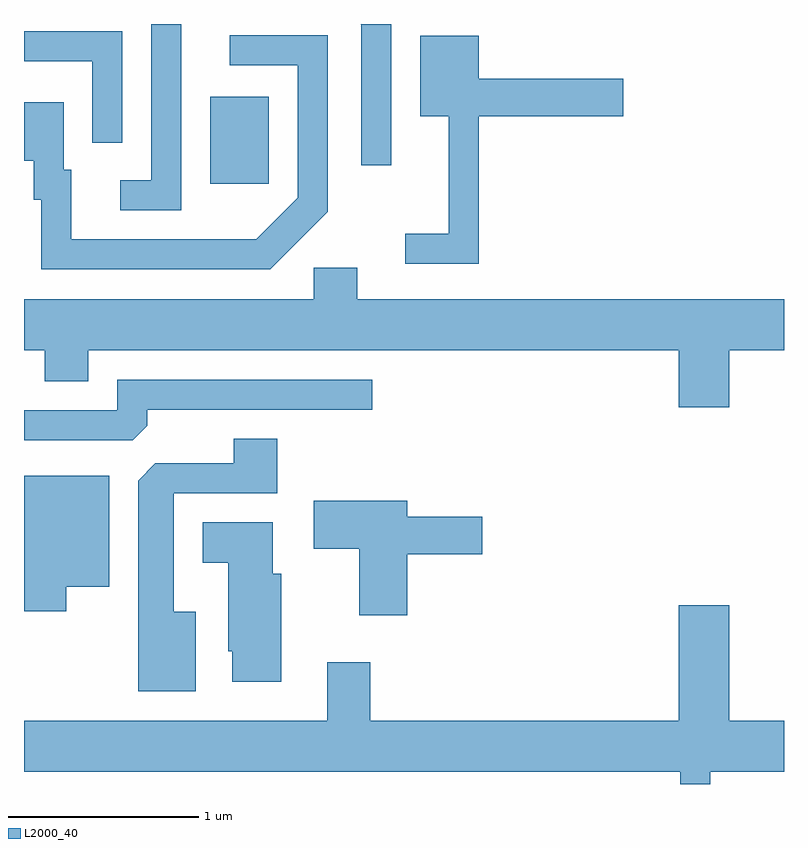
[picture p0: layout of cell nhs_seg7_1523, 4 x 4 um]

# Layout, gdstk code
import gdstk
lib = gdstk.Library(unit=1e-6, precision=1e-09)
def R(c, l, rs):  # rectangles x0, y0, x1, y1
    for r in rs: c.add(gdstk.rectangle(r[:2], r[2:], *l))
def P(c, l, *ps):  # polygons
    for p in ps: c.add(gdstk.Polygon(p, *l))
L2000_40 = (2000, 40)

nhs_seg7_1523 = lib.new_cell('nhs_seg7_1523')
R(nhs_seg7_1523, L2000_40, [(232.591,1717.411,232.899,1717.869)])
P(nhs_seg7_1523, L2000_40, [(232.439,1718.252),(232.281,1718.252),(232.281,1717.429),(232.118,1717.429),(232.118,1717.271),(232.439,1717.271)],
  [(233.544,1718.252),(233.383,1718.252),(233.386,1718.249),(233.386,1717.508),(233.544,1717.508)],
  [(232.129,1718.214),(231.611,1718.214),(231.611,1718.056),(231.971,1718.056),(231.971,1717.628),(232.129,1717.628)],
  [(233.209,1717.264),(233.209,1718.194),(232.693,1718.194),(232.693,1718.036),(233.051,1718.036),(233.051,1717.337),(232.834,1717.119),(231.859,1717.119),(231.859,1717.484),(231.819,1717.484),(231.819,1717.839),(231.611,1717.839),(231.611,1717.531),(231.661,1717.531),(231.661,1717.326),(231.701,1717.326),(231.701,1716.961),(232.907,1716.961)],
  [(234.004,1717.766),(234.764,1717.766),(234.764,1717.964),(234.004,1717.964),(234.004,1718.189),(233.696,1718.189),(233.696,1717.766),(233.846,1717.766),(233.846,1717.149),(233.618,1717.149),(233.618,1716.991),(234.004,1716.991)],
  [(235.324,1716.536),(235.611,1716.536),(235.611,1716.804),(233.364,1716.804),(233.364,1716.969),(233.136,1716.969),(233.136,1716.804),(231.611,1716.804),(231.611,1716.536),(231.721,1716.536),(231.721,1716.371),(231.949,1716.371),(231.949,1716.536),(235.056,1716.536),(235.056,1716.236),(235.324,1716.236)],
  [(232.259,1716.137),(232.259,1716.221),(233.443,1716.221),(233.443,1716.379),(232.101,1716.379),(232.101,1716.219),(231.611,1716.219),(231.611,1716.061),(232.184,1716.061)],
  [(232.514,1715.159),(232.399,1715.159),(232.399,1715.781),(232.944,1715.781),(232.944,1716.069),(232.716,1716.069),(232.716,1715.939),(232.302,1715.939),(232.211,1715.849),(232.211,1714.741),(232.514,1714.741)],
  [(231.834,1715.291),(232.059,1715.291),(232.059,1715.874),(231.611,1715.874),(231.611,1715.161),(231.834,1715.161)],
  [(233.629,1715.461),(234.024,1715.461),(234.024,1715.659),(233.629,1715.659),(233.629,1715.744),(233.136,1715.744),(233.136,1715.491),(233.376,1715.491),(233.376,1715.141),(233.629,1715.141)],
  [(232.964,1715.359),(232.919,1715.359),(232.919,1715.629),(232.551,1715.629),(232.551,1715.416),(232.686,1715.416),(232.686,1714.951),(232.706,1714.951),(232.706,1714.791),(232.964,1714.791)],
  [(235.066,1714.252),(235.224,1714.252),(235.224,1714.316),(235.611,1714.316),(235.611,1714.584),(235.324,1714.584),(235.324,1715.194),(235.056,1715.194),(235.056,1714.584),(233.434,1714.584),(233.434,1714.894),(233.206,1714.894),(233.206,1714.584),(231.611,1714.584),(231.611,1714.316),(235.066,1714.316)])

lib.write_gds('nhs_seg7_1523.gds')
